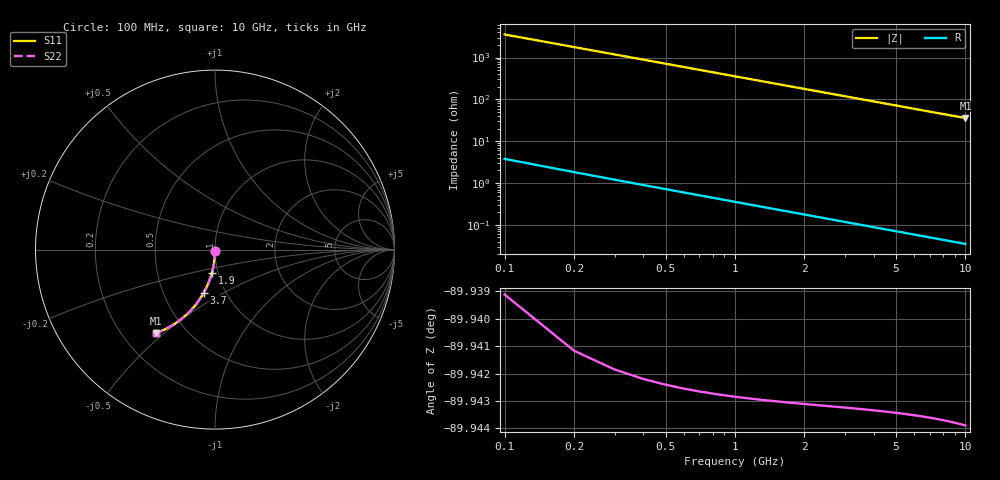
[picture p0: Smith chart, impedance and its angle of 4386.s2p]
# Hz S RI R 50.00
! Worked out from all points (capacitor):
!   100 points, 100 MHz to 10 GHz, reference 50 ohm
!   read as one part in shunt: C = 447 fF near 100 MHz
!   lowest |Z| = 35.8 ohm at 10 GHz (marker M1)
!   S11 on the Smith chart (normalised r, x): 100 MHz: 1.00, -0.01; 1.9 GHz: 0.93, -0.25; 3.7 GHz: 0.79, -0.41; 10 GHz: 0.34, -0.47
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1e8  -3.49e-05 -0.00697  0.9999 -0.00707  0.9999 -0.00707  -3.49e-05 -0.00697
2e8  -0.00019 -0.0139  0.9998 -0.0141  0.9998 -0.0141  -0.00019 -0.0139
3e8  -0.000443 -0.0209  0.9995 -0.0212  0.9995 -0.0212  -0.000443 -0.0209
4e8  -0.000794 -0.0279  0.9992 -0.0282  0.9992 -0.0282  -0.000794 -0.0279
5e8  -0.00124 -0.0348  0.9987 -0.0353  0.9987 -0.0353  -0.00124 -0.0348
6e8  -0.00179 -0.0418  0.9982 -0.0423  0.9982 -0.0423  -0.00179 -0.0418
7e8  -0.00244 -0.0487  0.9975 -0.0493  0.9975 -0.0493  -0.00244 -0.0487
8e8  -0.00318 -0.0556  0.9968 -0.0564  0.9968 -0.0564  -0.00318 -0.0556
9e8  -0.00402 -0.0625  0.9959 -0.0633  0.9959 -0.0633  -0.00402 -0.0625
1.1e9  -0.00598 -0.0763  0.994 -0.0773  0.994 -0.0773  -0.00598 -0.0763
1.4e9  -0.00964 -0.0967  0.9903 -0.098  0.9903 -0.098  -0.00964 -0.0967
1.8e9  -0.0158 -0.1235  0.9841 -0.1252  0.9841 -0.1252  -0.0158 -0.1235
1.9e9  -0.0176 -0.1301  0.9824 -0.1319  0.9824 -0.1319  -0.0176 -0.1301
2.2e9  -0.0234 -0.1498  0.9765 -0.1518  0.9765 -0.1518  -0.0234 -0.1498
2.6e9  -0.0324 -0.1753  0.9676 -0.1777  0.9676 -0.1777  -0.0324 -0.1753
3.4e9  -0.054 -0.2241  0.9459 -0.2272  0.9459 -0.2272  -0.054 -0.2241
3.7e9  -0.0633 -0.2414  0.9366 -0.2448  0.9366 -0.2448  -0.0633 -0.2414
4.4e9  -0.0872 -0.2796  0.9127 -0.2837  0.9127 -0.2837  -0.0872 -0.2796
5.1e9  -0.1137 -0.3146  0.8863 -0.3193  0.8863 -0.3193  -0.1137 -0.3146
6.7e9  -0.181 -0.3814  0.8189 -0.3877  0.8189 -0.3877  -0.181 -0.3814
8.4e9  -0.2576 -0.4329  0.7423 -0.4408  0.7423 -0.4408  -0.2576 -0.4329
1e10  -0.3294 -0.4648  0.6705 -0.4742  0.6705 -0.4742  -0.3294 -0.4648
